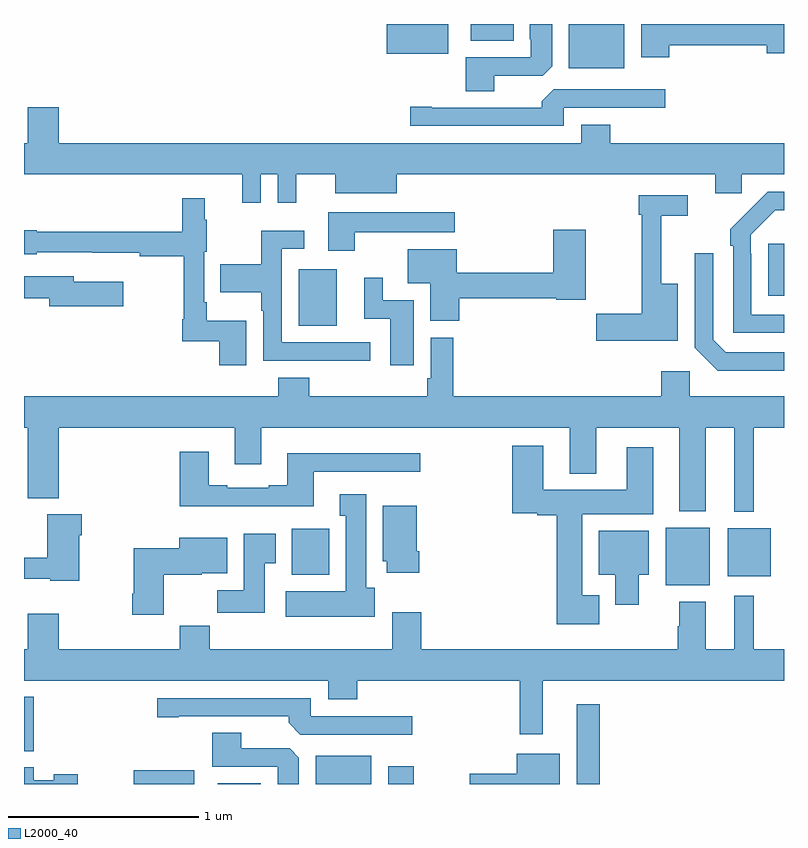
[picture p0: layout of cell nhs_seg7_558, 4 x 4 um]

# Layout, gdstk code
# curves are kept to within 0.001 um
import gdstk
lib = gdstk.Library(unit=1e-6, precision=1e-09)
def R(c, l, rs):  # rectangles x0, y0, x1, y1
    for r in rs: c.add(gdstk.rectangle(r[:2], r[2:], *l))
def P(c, l, *ps):  # polygons
    for p in ps: c.add(gdstk.Polygon(p, *l))
L2000_40 = (2000, 40)

nhs_seg7_558 = lib.new_cell('nhs_seg7_558')
R(nhs_seg7_558, L2000_40, [(153.578,1072,153.895,1072.072), (154.019,1072,154.246,1072.003), (154.535,1072,154.828,1072.15), (154.916,1072,155.05,1072.093), (155.909,1072,156.031,1072.42), (153,1072.173,153.05,1072.459), (156.377,1073.045,156.61,1073.35), (156.704,1073.093,156.931,1073.347), (154.409,1073.102,154.606,1073.344), (154.445,1074.413,154.645,1074.709), (156.917,1074.569,157,1074.844), (155.867,1075.766,156.16,1076), (154.91,1075.844,155.233,1076), (155.351,1075.913,155.578,1076)])
P(nhs_seg7_558, L2000_40, [(156.395,1075.888),(156.908,1075.888),(156.908,1075.846),(157,1075.846),(157,1076),(156.248,1076),(156.248,1075.824),(156.395,1075.824)],
  [(155.476,1075.728),(155.73,1075.728),(155.779,1075.777),(155.779,1076),(155.663,1076),(155.663,1075.921),(155.667,1075.921),(155.667,1075.824),(155.324,1075.824),(155.324,1075.645),(155.476,1075.645)],
  [(155.841,1075.56),(156.376,1075.56),(156.376,1075.656),(155.787,1075.656),(155.726,1075.594),(155.726,1075.56),(155.146,1075.56),(155.146,1075.565),(155.034,1075.565),(155.034,1075.464),(155.841,1075.464)],
  [(154.245,1075.208),(154.335,1075.208),(154.335,1075.059),(154.433,1075.059),(154.433,1075.208),(154.637,1075.208),(154.637,1075.109),(154.963,1075.109),(154.963,1075.208),(156.638,1075.208),(156.638,1075.11),(156.777,1075.11),(156.777,1075.208),(157,1075.208),(157,1075.372),(156.086,1075.372),(156.086,1075.471),(155.933,1075.471),(155.933,1075.372),(153.184,1075.372),(153.184,1075.561),(153.02,1075.561),(153.02,1075.372),(153,1075.372),(153,1075.208),(154.148,1075.208),(154.148,1075.059),(154.245,1075.059)],
  [(157,1074.471),(156.828,1074.471),(156.828,1074.791),(156.825,1074.791),(156.825,1074.891),(156.954,1075.02),(157,1075.02),(157,1075.116),(156.914,1075.116),(156.717,1074.921),(156.717,1074.833),(156.732,1074.833),(156.732,1074.375),(157,1074.375)],
  [(156.442,1074.634),(156.353,1074.634),(156.353,1074.99),(156.493,1074.99),(156.493,1075.098),(156.235,1075.098),(156.235,1074.995),(156.25,1074.995),(156.25,1074.476),(156.012,1074.476),(156.012,1074.334),(156.442,1074.334)],
  [(154.171,1074.439),(153.961,1074.439),(153.961,1074.535),(153.948,1074.535),(153.948,1074.801),(153.961,1074.801),(153.961,1074.971),(153.95,1074.971),(153.95,1075.084),(153.832,1075.084),(153.832,1074.907),(153.066,1074.907),(153.066,1074.915),(153,1074.915),(153,1074.788),(153.066,1074.788),(153.066,1074.798),(153.358,1074.798),(153.358,1074.797),(153.61,1074.797),(153.61,1074.778),(153.84,1074.778),(153.84,1074.445),(153.832,1074.445),(153.832,1074.33),(154.028,1074.33),(154.028,1074.204),(154.171,1074.204)],
  [(154.741,1074.905),(155.266,1074.905),(155.266,1075.009),(154.601,1075.009),(154.601,1074.807),(154.741,1074.807)],
  [(155.291,1074.556),(155.802,1074.556),(155.802,1074.548),(155.956,1074.548),(155.956,1074.916),(155.786,1074.916),(155.786,1074.692),(155.278,1074.692),(155.278,1074.814),(155.021,1074.814),(155.021,1074.635),(155.138,1074.635),(155.138,1074.438),(155.291,1074.438)],
  [(154.822,1074.324),(154.356,1074.324),(154.356,1074.816),(154.474,1074.816),(154.474,1074.913),(154.248,1074.913),(154.248,1074.735),(154.033,1074.735),(154.033,1074.587),(154.248,1074.587),(154.248,1074.491),(154.26,1074.491),(154.26,1074.228),(154.585,1074.228),(154.585,1074.227),(154.822,1074.227)],
  [(157,1074.273),(156.693,1074.273),(156.627,1074.339),(156.627,1074.793),(156.531,1074.793),(156.531,1074.297),(156.652,1074.176),(157,1074.176)],
  [(153.523,1074.643),(153.262,1074.643),(153.262,1074.672),(153,1074.672),(153,1074.556),(153.134,1074.556),(153.134,1074.514),(153.523,1074.514)],
  [(155.05,1074.546),(154.888,1074.546),(154.888,1074.664),(154.79,1074.664),(154.79,1074.45),(154.928,1074.45),(154.928,1074.204),(155.05,1074.204)],
  [(156.841,1073.876),(157,1073.876),(157,1074.04),(156.504,1074.04),(156.504,1074.172),(156.353,1074.172),(156.353,1074.04),(155.258,1074.04),(155.258,1074.349),(155.142,1074.349),(155.142,1074.136),(155.122,1074.136),(155.122,1074.04),(154.502,1074.04),(154.502,1074.139),(154.337,1074.139),(154.337,1074.04),(153,1074.04),(153,1073.876),(153.02,1073.876),(153.02,1073.504),(153.184,1073.504),(153.184,1073.876),(154.109,1073.876),(154.109,1073.682),(154.249,1073.682),(154.249,1073.876),(155.873,1073.876),(155.873,1073.633),(156.013,1073.633),(156.013,1073.876),(156.449,1073.876),(156.449,1073.435),(156.589,1073.435),(156.589,1073.876),(156.737,1073.876),(156.737,1073.432),(156.841,1073.432)],
  [(156.028,1072.993),(155.938,1072.993),(155.938,1073.42),(156.313,1073.42),(156.313,1073.773),(156.173,1073.773),(156.173,1073.548),(155.734,1073.548),(155.734,1073.779),(155.569,1073.779),(155.569,1073.426),(155.7,1073.426),(155.7,1073.414),(155.804,1073.414),(155.804,1072.841),(156.028,1072.841)],
  [(154.525,1073.643),(155.086,1073.643),(155.086,1073.74),(154.385,1073.74),(154.385,1073.572),(154.289,1073.572),(154.289,1073.559),(154.069,1073.559),(154.069,1073.572),(153.973,1073.572),(153.973,1073.749),(153.821,1073.749),(153.821,1073.462),(154.525,1073.462)],
  [(154.846,1073.034),(154.801,1073.034),(154.801,1073.524),(154.661,1073.524),(154.661,1073.411),(154.694,1073.411),(154.694,1073.014),(154.377,1073.014),(154.377,1072.88),(154.846,1072.88)],
  [(155.081,1073.224),(155.068,1073.224),(155.068,1073.464),(154.889,1073.464),(154.889,1073.172),(154.91,1073.172),(154.91,1073.112),(155.081,1073.112)],
  [(153.292,1073.309),(153.305,1073.309),(153.305,1073.419),(153.122,1073.419),(153.122,1073.191),(153,1073.191),(153,1073.081),(153.138,1073.081),(153.138,1073.069),(153.292,1073.069)],
  [(156.235,1073.102),(156.289,1073.102),(156.289,1073.332),(156.026,1073.332),(156.026,1073.102),(156.113,1073.102),(156.113,1072.944),(156.235,1072.944)],
  [(154.267,1073.161),(154.324,1073.161),(154.324,1073.317),(154.157,1073.317),(154.157,1073.02),(154.018,1073.02),(154.018,1072.902),(154.267,1072.902)],
  [(153.736,1073.102),(153.936,1073.102),(153.936,1073.108),(154.069,1073.108),(154.069,1073.296),(153.818,1073.296),(153.818,1073.242),(153.578,1073.242),(153.578,1073.002),(153.571,1073.002),(153.571,1072.89),(153.736,1072.89)],
  [(155.731,1072.544),(157,1072.544),(157,1072.708),(156.841,1072.708),(156.841,1072.99),(156.737,1072.99),(156.737,1072.708),(156.589,1072.708),(156.589,1072.96),(156.449,1072.96),(156.449,1072.829),(156.442,1072.829),(156.442,1072.708),(155.09,1072.708),(155.09,1072.903),(154.937,1072.903),(154.937,1072.708),(153.977,1072.708),(153.977,1072.832),(153.821,1072.832),(153.821,1072.708),(153.184,1072.708),(153.184,1072.897),(153.02,1072.897),(153.02,1072.708),(153,1072.708),(153,1072.544),(154.601,1072.544),(154.601,1072.445),(154.754,1072.445),(154.754,1072.544),(155.61,1072.544),(155.61,1072.263),(155.731,1072.263)],
  [(155.044,1072.356),(154.509,1072.356),(154.509,1072.452),(153.702,1072.452),(153.702,1072.351),(153.814,1072.351),(153.814,1072.356),(154.394,1072.356),(154.394,1072.322),(154.455,1072.26),(155.044,1072.26)],
  [(154.447,1072.139),(154.398,1072.188),(154.144,1072.188),(154.144,1072.271),(153.992,1072.271),(153.992,1072.092),(154.335,1072.092),(154.335,1072),(154.447,1072)],
  [(155.821,1072.159),(155.594,1072.159),(155.594,1072.053),(155.346,1072.053),(155.346,1072),(155.821,1072)],
  [(153.282,1072.052),(153.156,1072.052),(153.156,1072.021),(153.052,1072.021),(153.052,1072.088),(153,1072.088),(153,1072),(153.282,1072)])

lib.write_gds('nhs_seg7_558.gds')
